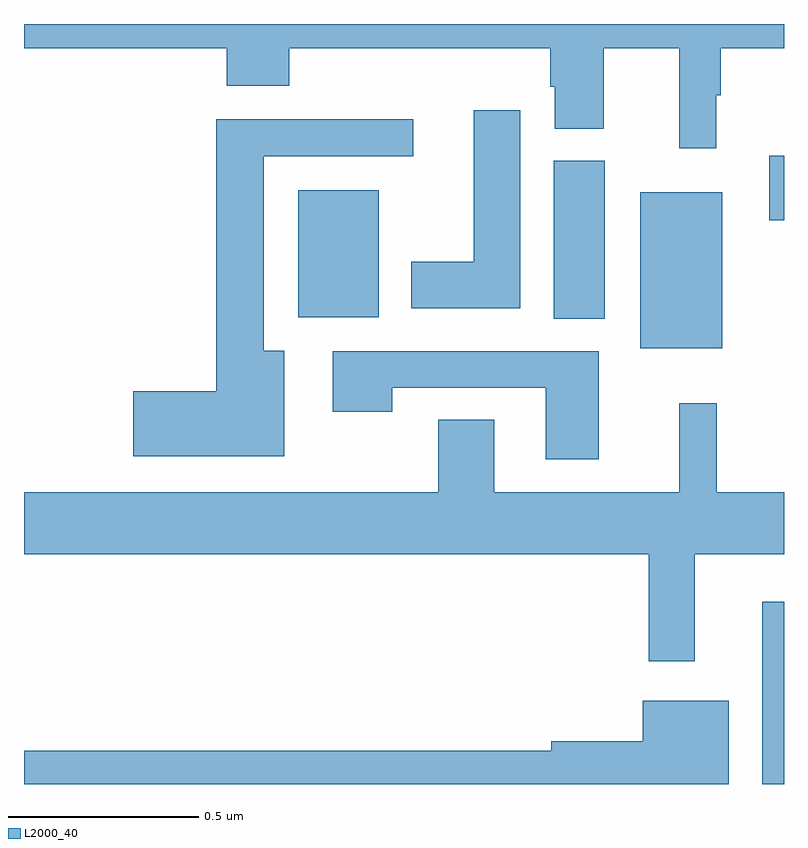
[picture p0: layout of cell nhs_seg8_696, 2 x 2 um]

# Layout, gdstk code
import gdstk
lib = gdstk.Library(unit=1e-6, precision=1e-09)
def R(c, l, rs):  # rectangles x0, y0, x1, y1
    for r in rs: c.add(gdstk.rectangle(r[:2], r[2:], *l))
def P(c, l, *ps):  # polygons
    for p in ps: c.add(gdstk.Polygon(p, *l))
L2000_40 = (2000, 40)

nhs_seg8_696 = lib.new_cell('nhs_seg8_696')
R(nhs_seg8_696, L2000_40, [(121.943,1111.9,122,1112.38), (121.622,1113.047,121.837,1113.457), (121.394,1113.124,121.528,1113.54), (120.722,1113.128,120.934,1113.463), (121.961,1113.383,122,1113.553)])
P(nhs_seg8_696, L2000_40, [(121.822,1113.713),(121.834,1113.713),(121.834,1113.836),(122,1113.836),(122,1113.9),(120,1113.9),(120,1113.836),(120.533,1113.836),(120.533,1113.737),(120.698,1113.737),(120.698,1113.836),(121.385,1113.836),(121.385,1113.735),(121.397,1113.735),(121.397,1113.625),(121.525,1113.625),(121.525,1113.836),(121.724,1113.836),(121.724,1113.573),(121.822,1113.573)],
  [(121.306,1113.673),(121.184,1113.673),(121.184,1113.274),(121.019,1113.274),(121.019,1113.152),(121.306,1113.152)],
  [(120.685,1113.04),(120.631,1113.04),(120.631,1113.552),(121.024,1113.552),(121.024,1113.65),(120.506,1113.65),(120.506,1112.933),(120.288,1112.933),(120.288,1112.762),(120.685,1112.762)],
  [(121.513,1113.039),(120.813,1113.039),(120.813,1112.88),(120.969,1112.88),(120.969,1112.943),(121.373,1112.943),(121.373,1112.754),(121.513,1112.754)],
  [(121.765,1112.504),(122,1112.504),(122,1112.668),(121.823,1112.668),(121.823,1112.902),(121.724,1112.902),(121.724,1112.668),(121.237,1112.668),(121.237,1112.858),(121.09,1112.858),(121.09,1112.668),(120,1112.668),(120,1112.504),(121.644,1112.504),(121.644,1112.223),(121.765,1112.223)],
  [(121.855,1112.119),(121.628,1112.119),(121.628,1112.013),(121.388,1112.013),(121.388,1111.988),(120,1111.988),(120,1111.9),(121.855,1111.9)])

lib.write_gds('nhs_seg8_696.gds')
